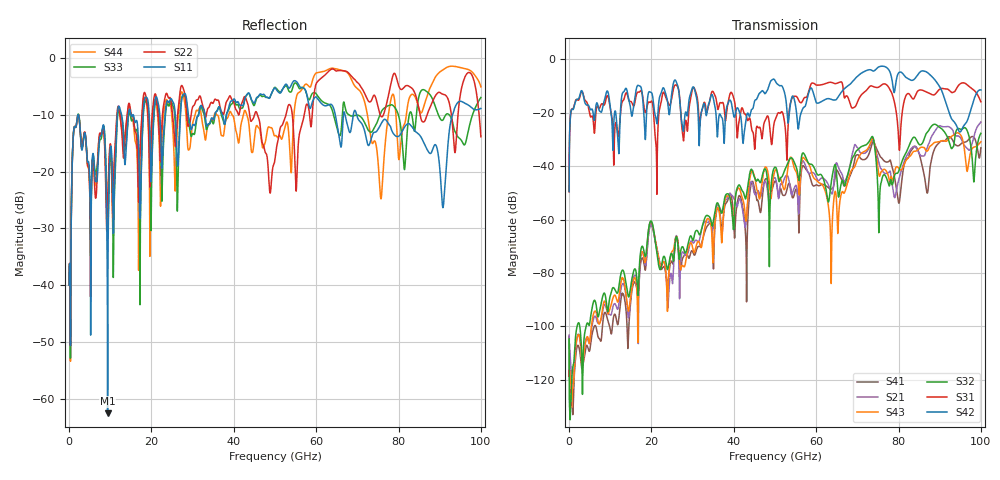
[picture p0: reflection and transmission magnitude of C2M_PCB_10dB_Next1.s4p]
! Info: Touchstone file created by Circ.  Input file=Intel_C2M_200G_0p5in_202204012_staggered.circ
# Hz S RI R 50
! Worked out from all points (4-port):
!   10000 points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, 10 MHz to 100 GHz, reference 50 ohm
!   strongest paths, dB at 10 MHz, 25.01 GHz, 50.01 GHz, 75.01 GHz, 100 GHz:
!     S42: -49.4, -11.8, -7.9, -3.0, -11.5
!     S31: -49.6, -13.7, -22.7, -10.5, -15.9
!     S32: -104.6, -72.9, -40.3, -49.9, -27.7
!     S43: -105.1, -71.9, -41.6, -40.8, -30.8
!     S21: -103.2, -82.6, -44.4, -37.4, -23.5
!     S41: -103.8, -75.9, -45.6, -34.6, -33.1
!   lowest |S11| = -62.6 dB at 9.35 GHz (marker M1), VSWR 1.00, Z = 50 + j0.0625 ohm
!   |S11| at or under -10 dB: 2.266 GHz to 11.73 GHz (9.461 GHz wide, 135 % of centre); 28.95 GHz to 31.49 GHz (2.535 GHz wide, 8.39 % of centre); 69.83 GHz to 93.14 GHz (23.31 GHz wide, 28.6 % of centre) (the widest 3 of 14)
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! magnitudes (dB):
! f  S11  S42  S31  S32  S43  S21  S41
! 10 MHz  -40.0  -49.4  -49.6  -104.6  -105.1  -103.2  -103.8
! 2.01 GHz  -10.5  -14.9  -15.1  -99.6  -104.0  -103.6  -107.3
! 9.35 GHz  -62.6  -11.9  -13.6  -94.6  -95.0  -95.0  -97.4
! 18.7 GHz  -6.9  -23.5  -19.3  -72.8  -73.8  -76.2  -76.5
! 53.8 GHz  -5.0  -16.3  -16.1  -37.0  -36.6  -49.3  -48.0
! 63.59 GHz  -8.2  -14.9  -8.6  -46.9  -73.5  -49.7  -48.5
! 100 GHz  -8.9  -11.5  -15.9  -27.7  -30.8  -23.5  -33.1
